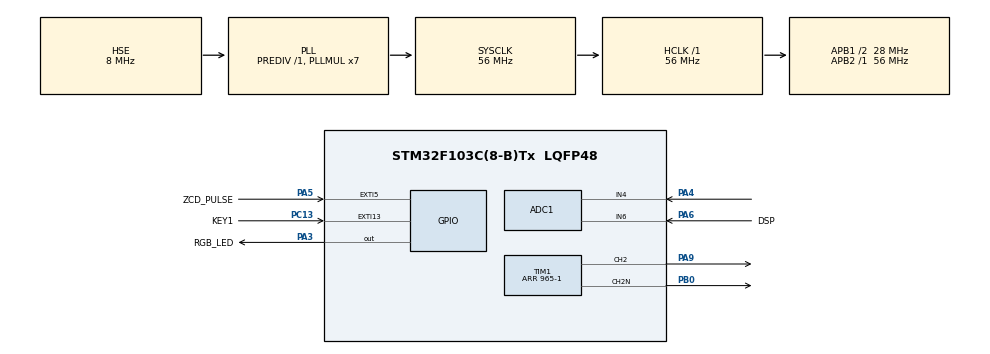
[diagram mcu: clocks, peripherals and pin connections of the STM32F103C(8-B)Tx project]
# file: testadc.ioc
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ADC1.Channel-2\#ChannelRegularConversion=ADC_CHANNEL_4
ADC1.ContinuousConvMode=ENABLE
ADC1.ExternalTrigConv=ADC_EXTERNALTRIGCONV_T3_TRGO
ADC1.NbrOfConversionFlag=1
ADC1.Rank-2\#ChannelRegularConversion=1
ADC1.SamplingTime-2\#ChannelRegularConversion=ADC_SAMPLETIME_1CYCLE_5
ADC1.master=1
Mcu.Family=STM32F1
Mcu.Name=STM32F103C(8-B)Tx
Mcu.Package=LQFP48
NVIC.EXTI15_10_IRQn=true\:0\:0\:false\:false\:true\:true\:true\:true
NVIC.EXTI9_5_IRQn=true\:0\:0\:false\:false\:true\:true\:true\:true
NVIC.PriorityGroup=NVIC_PRIORITYGROUP_4
NVIC.TIM1_CC_IRQn=true\:0\:0\:false\:false\:true\:true\:true\:true
NVIC.TIM4_IRQn=true\:0\:0\:false\:false\:true\:true\:true\:true
PA13.Mode=Trace_Asynchronous_SW
PA13.Signal=SYS_JTMS-SWDIO
PA14.Mode=Trace_Asynchronous_SW
PA14.Signal=SYS_JTCK-SWCLK
PA3.GPIO_Label=RGB_LED
PA3.Signal=GPIO_Output
PA4.Signal=ADCx_IN4
PA5.GPIO_Label=ZCD_PULSE
PA5.GPIO_ModeDefaultEXTI=GPIO_MODE_IT_RISING
PA5.Signal=GPXTI5
PA6.GPIO_Label=DSP
PA6.Signal=ADCx_IN6
PA9.Signal=S_TIM1_CH2
PB0.Mode=PWM Generation2 CH2 CH2N
PB0.Signal=TIM1_CH2N
PB3.Mode=Trace_Asynchronous_SW
PB3.Signal=SYS_JTDO-TRACESWO
PC13-TAMPER-RTC.GPIO_Label=KEY1
PC13-TAMPER-RTC.Signal=GPXTI13
PD0-OSC_IN.Mode=HSE-External-Oscillator
PD0-OSC_IN.Signal=RCC_OSC_IN
PD1-OSC_OUT.Mode=HSE-External-Oscillator
PD1-OSC_OUT.Signal=RCC_OSC_OUT
ProjectManager.HeapSize=0x200
ProjectManager.StackSize=0x400
ProjectManager.TargetToolchain=MDK-ARM V5.32
RCC.ADCPresc=RCC_ADCPCLK2_DIV4
RCC.AHBFreq_Value=56000000
RCC.APB1CLKDivider=RCC_HCLK_DIV2
RCC.APB1Freq_Value=28000000
RCC.APB1TimFreq_Value=56000000
RCC.APB2Freq_Value=56000000
RCC.APB2TimFreq_Value=56000000
RCC.HCLKFreq_Value=56000000
RCC.PLLMUL=RCC_PLL_MUL7
RCC.PLLSourceVirtual=RCC_PLLSOURCE_HSE
RCC.SYSCLKFreq_VALUE=56000000
RCC.SYSCLKSource=RCC_SYSCLKSOURCE_PLLCLK
RCC.USBFreq_Value=56000000
SH.ADCx_IN4.0=ADC1_IN4,IN4
SH.ADCx_IN6.0=ADC1_IN6,IN6
SH.S_TIM1_CH2.0=TIM1_CH2,PWM Generation2 CH2 CH2N
TIM1.AutoReloadPreload=TIM_AUTORELOAD_PRELOAD_ENABLE
TIM1.BreakState=TIM_BREAK_ENABLE
TIM1.Channel-PWM\ Generation2\ CH2\ CH2N=TIM_CHANNEL_2
TIM1.DeadTime=50
TIM1.OCFastMode_PWM-PWM\ Generation2\ CH2\ CH2N=TIM_OCFAST_ENABLE
TIM1.OCNIdleState_2=TIM_OCNIDLESTATE_SET
TIM1.OCPolarity_2=TIM_OCPOLARITY_LOW
TIM1.Period=965-1
TIM3.AutoReloadPreload=TIM_AUTORELOAD_PRELOAD_ENABLE
TIM3.Period=70-1
TIM3.TIM_MasterOutputTrigger=TIM_TRGO_UPDATE
TIM4.Period=56
TIM4.Prescaler=250
VP_TIM1_VS_ClockSourceINT.Mode=Internal
VP_TIM3_VS_ClockSourceINT.Mode=Internal
VP_TIM4_VS_ClockSourceINT.Mode=Internal
board=custom

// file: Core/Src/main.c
/* USER CODE BEGIN Header */
/**
  ******************************************************************************
  * @file           : main.c
  * @brief          : Main program body
  ******************************************************************************
  * @attention
  *
  * Copyright (c) 2023 STMicroelectronics.
  * All rights reserved.
  *
  * This software is licensed under terms that can be found in the LICENSE file
  * in the root directory of this software component.
  * If no LICENSE file comes with this software, it is provided AS-IS.
  *
  ******************************************************************************
  */
/* USER CODE END Header */
#include "main.h"

/* USER CODE BEGIN Includes */
#include "arm_math.h"
#include "arm_const_structs.h"
/* USER CODE END Includes */

/* USER CODE BEGIN PTD */

#define SAMPLES                    512             /* 256 real party and 256 imaginary parts */
#define FFT_SIZE               SAMPLES / 2        /* FFT size is always the same size as we have samples, so 256 in our case */
#define FFT_INVERSE_FLAG        ((uint8_t)0)
#define FFT_Normal_OUTPUT_FLAG  ((uint8_t)1)

uint16_t adc_val[SAMPLES];
q15_t FFT_Input_f32[FFT_SIZE*2];
q15_t FFT_Output_f32[FFT_SIZE];
q15_t maxValue=0;
uint16_t tag=0;
//q15_t FFT_Input_f32[SAMPLES];
//q15_t FFT_Output_f32[SAMPLES*2];
//q15_t maxValue;

//float32_t FFT_Input_f32[FFT_SIZE*2];
//float32_t FFT_Output_f32[FFT_SIZE];
//float32_t FFT_OutputFilter_f32[FFT_SIZE*2];
//float32_t maxValue;
uint16_t global_pulse_flag = 0;
uint16_t pulseEnd=0;
uint32_t maxIndex=0;
uint16_t BufferFlag=0;
#define NUM_TAPS 115
#define BLOCK_SIZE 512
static float32_t firStateF32[BLOCK_SIZE + NUM_TAPS -1];
static float32_t firCeffs[NUM_TAPS]= {
    0.000000000000000000,
    -0.000001313523696031,
    -0.000006045600631796,
    -0.000005391705956365,
    0.000012876350688274,
    0.000042207631095607,
    0.000049160753288544,
    0.000000000000000000,
    -0.000093495662352919,
    -0.000156458139528984,
    -0.000098411892031813,
    0.000094663715790658,
    0.000303189468920621,
    0.000329439281059466,
    0.000059204395866005,
    -0.000387818287369625,
    -0.000672559646994957,
    -0.000467746171394902,
    0.000232182269721180,
    0.000985307337439024,
    0.001143134936861696,
    0.000362749111054153,
    -0.000985477046233643,
    -0.001915421171109029,
    -0.001498197428606539,
    0.000311706861481382,
    0.002378415892033811,
    0.003025276997866369,
    0.001318618646342356,
    -0.001938171907916035,
    -0.004428097444937380,
    -0.003883551726046047,
    -0.000000000000000015,
    0.004827376867569123,
    0.006844939664729055,
    0.003729019080618624,
    -0.003161902009773621,
    -0.009057440458735459,
    -0.008911370218357424,
    -0.001465763470095635,
    0.008872689019475683,
    0.014345690837972453,
    0.009380187935203779,
    -0.004413697608035452,
    -0.017902031757367123,
    -0.020021915997521410,
    -0.006181225792915156,
    0.016503429923908217,
    0.031891188832734084,
    0.025140771560349908,
    -0.005360616978954799,
    -0.042823512659950928,
    -0.058686112468638876,
    -0.028715514040432644,
    0.050545074398097495,
    0.155557392997279859,
    0.244954572543420429,
    0.279997587009433113,
    0.244954572543420485,
    0.155557392997279859,
    0.050545074398097495,
    -0.028715514040432644,
    -0.058686112468638855,
    -0.042823512659950935,
    -0.005360616978954799,
    0.025140771560349912,
    0.031891188832734091,
    0.016503429923908217,
    -0.006181225792915157,
    -0.020021915997521410,
    -0.017902031757367130,
    -0.004413697608035453,
    0.009380187935203779,
    0.014345690837972458,
    0.008872689019475688,
    -0.001465763470095636,
    -0.008911370218357428,
    -0.009057440458735459,
    -0.003161902009773623,
    0.003729019080618626,
    0.006844939664729060,
    0.004827376867569123,
    -0.000000000000000015,
    -0.003883551726046047,
    -0.004428097444937378,
    -0.001938171907916035,
    0.001318618646342357,
    0.003025276997866374,
    0.002378415892033812,
    0.000311706861481382,
    -0.001498197428606540,
    -0.001915421171109029,
    -0.000985477046233643,
    0.000362749111054154,
    0.001143134936861694,
    0.000985307337439024,
    0.000232182269721180,
    -0.000467746171394903,
    -0.000672559646994958,
    -0.000387818287369625,
    0.000059204395866005,
    0.000329439281059466,
    0.000303189468920622,
    0.000094663715790658,
    -0.000098411892031812,
    -0.000156458139528984,
    -0.000093495662352919,
    0.000000000000000000,
    0.000049160753288544,
    0.000042207631095608,
    0.000012876350688274,
    -0.000005391705956365,
    -0.000006045600631796,
    -0.000001313523696031,
    0.000000000000000000,};
/* USER CODE END PTD */

ADC_HandleTypeDef hadc1;

TIM_HandleTypeDef htim1;
TIM_HandleTypeDef htim3;
TIM_HandleTypeDef htim4;

void SystemClock_Config(void);
static void MX_GPIO_Init(void);
static void MX_ADC1_Init(void);
static void MX_TIM3_Init(void);
static void MX_TIM1_Init(void);
static void MX_TIM4_Init(void);
/* USER CODE BEGIN PFP */
/* Maps buffer values 113..742, inclusive, to -8192..24575, with correct rounding. */
//void prepare_adc(uint32_t buffer[], uint32_t count)
//{
//		uint32_t xmin=0, xmax=4095, ymin=0, ymax=32767, r=0;
//		for (uint32_t  i = 0; i < count; i++){
//			if (buffer[i] <= xmin)
//					buffer[i] = ymin;
//			else
//			if (buffer[i] < xmax)
//					buffer[i] = ((int32_t)(buffer[i] - xmin)*32767 + r) / 629 + ymin;
//			else
//					buffer[i] = ymax;
//			}
//}
void HAL_GPIO_EXTI_Callback(uint16_t GPIO_Pin)
{

    if(GPIO_Pin == KEY1_Pin)
    {
			while(HAL_GPIO_ReadPin(KEY1_GPIO_Port, KEY1_Pin) == GPIO_PIN_RESET){};

			HAL_TIM_Base_Stop_IT(&htim1);
			HAL_GPIO_TogglePin(RGB_LED_GPIO_Port, RGB_LED_Pin);
//			HAL_TIM_OnePulse_Start(&htim2, TIM_CHANNEL_3);
//			__HAL_TIM_ENABLE(&htim2);
			HAL_TIM_Base_Start_IT(&htim1);

    }

    if(GPIO_Pin == ZCD_PULSE_Pin)
    {
			global_pulse_flag = 0;
//			HAL_GPIO_TogglePin(RGB_LED_GPIO_Port, RGB_LED_Pin);
			HAL_TIM_Base_Start_IT(&htim4); //TX PULSE
			HAL_TIM_Base_Stop(&htim3); //Stop adc trigger

    }

}

void HAL_ADC_ConvCpltCallback(ADC_HandleTypeDef* hadc){
	//arm_cfft_radix4_instance_f32 FFT_struct;
	// Fill FFT input buffer with the required data from ADCConvertedValue

	for(uint16_t index_input_buffer = 0; index_input_buffer < FFT_SIZE * 2; index_input_buffer+=2)
	{
		 FFT_Input_f32[(uint16_t)index_input_buffer] = (q15_t)adc_val[index_input_buffer] << 3;
		// Imaginary Part
		FFT_Input_f32[(uint16_t)(index_input_buffer + 1)] = 0;
	}

	BufferFlag=1;

}
uint16_t tag_processing(q15_t a[]){

	if (3800< a[59]){
		HAL_GPIO_WritePin(RGB_LED_GPIO_Port, RGB_LED_Pin, 1);
		tag=1;
		HAL_Delay(10);
	}
	else{
		HAL_GPIO_WritePin(RGB_LED_GPIO_Port, RGB_LED_Pin, 0);
		tag=0;
	}

return tag;
}

void HAL_TIM_PWM_PulseFinishedCallback(TIM_HandleTypeDef *htim)
{
    if(htim -> Instance == TIM1)
    {
        if(htim-> Channel == HAL_TIM_ACTIVE_CHANNEL_2)
        {
            global_pulse_flag++;
            if(global_pulse_flag>=87){ //1ms after pulse started (87*1/58000=1.5ms)
							global_pulse_flag = 0;
							HAL_TIM_PWM_Stop_IT(&htim1, TIM_CHANNEL_2);
							HAL_TIMEx_PWMN_Stop_IT(&htim1, TIM_CHANNEL_2);
							HAL_TIM_Base_Start(&htim3); //Start adc trigger
						}
        }
    }

}

void HAL_TIM_PeriodElapsedCallback(TIM_HandleTypeDef* htim)
{

	if(htim-> Instance == TIM4){
		HAL_TIM_Base_Stop_IT(&htim4);
		HAL_TIM_PWM_Start_IT(&htim1, TIM_CHANNEL_2);
		HAL_TIMEx_PWMN_Start_IT(&htim1, TIM_CHANNEL_2);
	}

//	if(htim-> Instance == TIM2){
//		pulseEnd=1;
//	}

}

uint16_t find_maximum(q15_t a[], uint16_t n) {
  q15_t c, index = 0;

  for (c = 50; c < n; c++)
    if (a[c] > a[index])
      index = c;

  return index;
}

/* USER CODE END PFP */

int main(void)
{

  /* MCU Configuration--------------------------------------------------------*/

  /* Reset of all peripherals, Initializes the Flash interface and the Systick. */
  HAL_Init();

  /* Configure the system clock */
  SystemClock_Config();

  /* Initialize all configured peripherals */
  MX_GPIO_Init();
  MX_ADC1_Init();
  MX_TIM3_Init();
  MX_TIM1_Init();
  MX_TIM4_Init();
  /* USER CODE BEGIN 2 */

	HAL_ADCEx_Calibration_Start(&hadc1);

	HAL_TIM_Base_Start_IT(&htim4);
	HAL_TIM_Base_Start(&htim3);
	global_pulse_flag=0;
	uint32_t CH1_DC=1032/2;
	TIM1->CCR2 = CH1_DC;
	TIM4->ARR=12-1;

//	HAL_ADC_Start_DMA(&hadc1, (uint32_t *)adc_val, SAMPLES);

  /* USER CODE END 2 */

  /* Infinite loop */
  /* USER CODE BEGIN WHILE */
	HAL_GPIO_WritePin(RGB_LED_GPIO_Port, RGB_LED_Pin, 1);
	HAL_Delay(800);
	HAL_GPIO_WritePin(RGB_LED_GPIO_Port, RGB_LED_Pin, 0);

//	arm_fir_instance_f32 F;
//	arm_cfft_radix4_instance_f32 S;
//	arm_rfft_fast_instance_f32 S;
//	arm_rfft_instance_q15 S;
//	arm_cfft_instance_q15 S;
	arm_cfft_radix4_instance_q15 S;
//	arm_cfft_radix2_instance_q15 S;
	arm_status status;

//	arm_cfft_radix4_init_f32(&S, FFT_SIZE, 0, 1);
//	arm_rfft_fast_init_f32(&S, FFT_SIZE);
//	arm_rfft_init_q15(&S, FFT_SIZE, 0, 1);
//	arm_cfft_init_q15(&S, FFT_SIZE);
	arm_cfft_radix4_init_q15(&S, FFT_SIZE, 0, 1);
//	arm_cfft_radix2_init_q15(&S, FFT_SIZE, 0, 1);

  while (1)
  {

//		if(maxIndex == 30){
//
//		HAL_GPIO_WritePin(RGB_LED_GPIO_Port, RGB_LED_Pin, 0);
			HAL_GPIO_TogglePin(RGB_LED_GPIO_Port, RGB_LED_Pin);
//			HAL_Delay(500);
		if (BufferFlag == 1){
		HAL_TIM_Base_Stop(&htim3);

//		arm_fir_init_f32(&F, NUM_TAPS, firCeffs, firStateF32, BLOCK_SIZE);
//		arm_fir_f32(&F, FFT_Input_f32, FFT_OutputFilter_f32, BLOCK_SIZE);

		/* Initialize the CFFT/CIFFT module, intFlag = 0, doBitReverse = 1 */

		/* Process the data through the CFFT/CIFFT module */
//		arm_cfft_radix4_f32(&S, FFT_Input_f32);
//		arm_rfft_fast_f32(&S, FFT_Input_f32,FFT_Output_f32,0);
//		arm_rfft_q15(&S, FFT_Input_f32, FFT_Output_f32);
		arm_cfft_radix4_q15(&S, FFT_Input_f32);

//		arm_cfft_radix2_q15(&S, FFT_Input_f32);
		/* Process the data through the Complex Magniture Module for calculating the magnitude at each bin */
//		arm_cmplx_mag_f32(FFT_Input_f32, FFT_Output_f32, FFT_SIZE);
		arm_cmplx_mag_q15(FFT_Input_f32, FFT_Output_f32, FFT_SIZE);

		FFT_Output_f32[0] = 0;

		/* Calculates maxValue and returns corresponding value */
////		arm_max_f32(FFT_Output_f32, FFT_SIZE, &maxValue, &maxIndex);
		arm_max_q15(FFT_Output_f32, FFT_SIZE, &maxValue, &maxIndex);

//		maxIndex = find_maximum(FFT_Output_f32, 70);
//		maxValue = FFT_Output_f32[maxIndex];
//		tag_processing(FFT_Output_f32);

		BufferFlag = 0;
		HAL_TIM_Base_Start(&htim3); //Stop adc Trig
		}

    /* USER CODE END WHILE */

  }
}

void SystemClock_Config(void)
{
  RCC_OscInitTypeDef RCC_OscInitStruct = {0};
  RCC_ClkInitTypeDef RCC_ClkInitStruct = {0};
  RCC_PeriphCLKInitTypeDef PeriphClkInit = {0};

  /** Initializes the RCC Oscillators according to the specified parameters
  * in the RCC_OscInitTypeDef structure.
  */
  RCC_OscInitStruct.OscillatorType = RCC_OSCILLATORTYPE_HSE;
  RCC_OscInitStruct.HSEState = RCC_HSE_ON;
  RCC_OscInitStruct.HSEPredivValue = RCC_HSE_PREDIV_DIV1;
  RCC_OscInitStruct.HSIState = RCC_HSI_ON;
  RCC_OscInitStruct.PLL.PLLState = RCC_PLL_ON;
  RCC_OscInitStruct.PLL.PLLSource = RCC_PLLSOURCE_HSE;
  RCC_OscInitStruct.PLL.PLLMUL = RCC_PLL_MUL7;
  if (HAL_RCC_OscConfig(&RCC_OscInitStruct) != HAL_OK)
  {
    Error_Handler();
  }

  /** Initializes the CPU, AHB and APB buses clocks
  */
  RCC_ClkInitStruct.ClockType = RCC_CLOCKTYPE_HCLK|RCC_CLOCKTYPE_SYSCLK
                              |RCC_CLOCKTYPE_PCLK1|RCC_CLOCKTYPE_PCLK2;
  RCC_ClkInitStruct.SYSCLKSource = RCC_SYSCLKSOURCE_PLLCLK;
  RCC_ClkInitStruct.AHBCLKDivider = RCC_SYSCLK_DIV1;
  RCC_ClkInitStruct.APB1CLKDivider = RCC_HCLK_DIV2;
  RCC_ClkInitStruct.APB2CLKDivider = RCC_HCLK_DIV1;

  if (HAL_RCC_ClockConfig(&RCC_ClkInitStruct, FLASH_LATENCY_2) != HAL_OK)
  {
    Error_Handler();
  }
  PeriphClkInit.PeriphClockSelection = RCC_PERIPHCLK_ADC;
  PeriphClkInit.AdcClockSelection = RCC_ADCPCLK2_DIV4;
  if (HAL_RCCEx_PeriphCLKConfig(&PeriphClkInit) != HAL_OK)
  {
    Error_Handler();
  }
}

static void MX_ADC1_Init(void)
{

  ADC_ChannelConfTypeDef sConfig = {0};

  /** Common config
  */
  hadc1.Instance = ADC1;
  hadc1.Init.ScanConvMode = ADC_SCAN_DISABLE;
  hadc1.Init.ContinuousConvMode = ENABLE;
  hadc1.Init.DiscontinuousConvMode = DISABLE;
  hadc1.Init.ExternalTrigConv = ADC_EXTERNALTRIGCONV_T3_TRGO;
  hadc1.Init.DataAlign = ADC_DATAALIGN_RIGHT;
  hadc1.Init.NbrOfConversion = 1;
  if (HAL_ADC_Init(&hadc1) != HAL_OK)
  {
    Error_Handler();
  }

  /** Configure Regular Channel
  */
  sConfig.Channel = ADC_CHANNEL_4;
  sConfig.Rank = ADC_REGULAR_RANK_1;
  sConfig.SamplingTime = ADC_SAMPLETIME_1CYCLE_5;
  if (HAL_ADC_ConfigChannel(&hadc1, &sConfig) != HAL_OK)
  {
    Error_Handler();
  }

}

static void MX_TIM1_Init(void)
{

  TIM_ClockConfigTypeDef sClockSourceConfig = {0};
  TIM_MasterConfigTypeDef sMasterConfig = {0};
  TIM_OC_InitTypeDef sConfigOC = {0};
  TIM_BreakDeadTimeConfigTypeDef sBreakDeadTimeConfig = {0};

  htim1.Instance = TIM1;
  htim1.Init.Prescaler = 0;
  htim1.Init.CounterMode = TIM_COUNTERMODE_UP;
  htim1.Init.Period = 965-1;
  htim1.Init.ClockDivision = TIM_CLOCKDIVISION_DIV1;
  htim1.Init.RepetitionCounter = 0;
  htim1.Init.AutoReloadPreload = TIM_AUTORELOAD_PRELOAD_ENABLE;
  if (HAL_TIM_Base_Init(&htim1) != HAL_OK)
  {
    Error_Handler();
  }
  sClockSourceConfig.ClockSource = TIM_CLOCKSOURCE_INTERNAL;
  if (HAL_TIM_ConfigClockSource(&htim1, &sClockSourceConfig) != HAL_OK)
  {
    Error_Handler();
  }
  if (HAL_TIM_PWM_Init(&htim1) != HAL_OK)
  {
    Error_Handler();
  }
  sMasterConfig.MasterOutputTrigger = TIM_TRGO_RESET;
  sMasterConfig.MasterSlaveMode = TIM_MASTERSLAVEMODE_DISABLE;
  if (HAL_TIMEx_MasterConfigSynchronization(&htim1, &sMasterConfig) != HAL_OK)
  {
    Error_Handler();
  }
  sConfigOC.OCMode = TIM_OCMODE_PWM1;
  sConfigOC.Pulse = 0;
  sConfigOC.OCPolarity = TIM_OCPOLARITY_LOW;
  sConfigOC.OCNPolarity = TIM_OCNPOLARITY_HIGH;
  sConfigOC.OCFastMode = TIM_OCFAST_ENABLE;
  sConfigOC.OCIdleState = TIM_OCIDLESTATE_RESET;
  sConfigOC.OCNIdleState = TIM_OCNIDLESTATE_SET;
  if (HAL_TIM_PWM_ConfigChannel(&htim1, &sConfigOC, TIM_CHANNEL_2) != HAL_OK)
  {
    Error_Handler();
  }
  sBreakDeadTimeConfig.OffStateRunMode = TIM_OSSR_DISABLE;
  sBreakDeadTimeConfig.OffStateIDLEMode = TIM_OSSI_DISABLE;
  sBreakDeadTimeConfig.LockLevel = TIM_LOCKLEVEL_OFF;
  sBreakDeadTimeConfig.DeadTime = 50;
  sBreakDeadTimeConfig.BreakState = TIM_BREAK_ENABLE;
  sBreakDeadTimeConfig.BreakPolarity = TIM_BREAKPOLARITY_HIGH;
  sBreakDeadTimeConfig.AutomaticOutput = TIM_AUTOMATICOUTPUT_DISABLE;
  if (HAL_TIMEx_ConfigBreakDeadTime(&htim1, &sBreakDeadTimeConfig) != HAL_OK)
  {
    Error_Handler();
  }
  HAL_TIM_MspPostInit(&htim1);

}

static void MX_TIM3_Init(void)
{

  TIM_ClockConfigTypeDef sClockSourceConfig = {0};
  TIM_MasterConfigTypeDef sMasterConfig = {0};

  htim3.Instance = TIM3;
  htim3.Init.Prescaler = 0;
  htim3.Init.CounterMode = TIM_COUNTERMODE_UP;
  htim3.Init.Period = 70-1;
  htim3.Init.ClockDivision = TIM_CLOCKDIVISION_DIV1;
  htim3.Init.AutoReloadPreload = TIM_AUTORELOAD_PRELOAD_ENABLE;
  if (HAL_TIM_Base_Init(&htim3) != HAL_OK)
  {
    Error_Handler();
  }
  sClockSourceConfig.ClockSource = TIM_CLOCKSOURCE_INTERNAL;
  if (HAL_TIM_ConfigClockSource(&htim3, &sClockSourceConfig) != HAL_OK)
  {
    Error_Handler();
  }
  sMasterConfig.MasterOutputTrigger = TIM_TRGO_UPDATE;
  sMasterConfig.MasterSlaveMode = TIM_MASTERSLAVEMODE_DISABLE;
  if (HAL_TIMEx_MasterConfigSynchronization(&htim3, &sMasterConfig) != HAL_OK)
  {
    Error_Handler();
  }

}

static void MX_TIM4_Init(void)
{

  TIM_ClockConfigTypeDef sClockSourceConfig = {0};
  TIM_MasterConfigTypeDef sMasterConfig = {0};

  htim4.Instance = TIM4;
  htim4.Init.Prescaler = 250;
  htim4.Init.CounterMode = TIM_COUNTERMODE_UP;
  htim4.Init.Period = 56;
  htim4.Init.ClockDivision = TIM_CLOCKDIVISION_DIV1;
  htim4.Init.AutoReloadPreload = TIM_AUTORELOAD_PRELOAD_DISABLE;
  if (HAL_TIM_Base_Init(&htim4) != HAL_OK)
  {
    Error_Handler();
  }
  sClockSourceConfig.ClockSource = TIM_CLOCKSOURCE_INTERNAL;
  if (HAL_TIM_ConfigClockSource(&htim4, &sClockSourceConfig) != HAL_OK)
  {
    Error_Handler();
  }
  sMasterConfig.MasterOutputTrigger = TIM_TRGO_RESET;
  sMasterConfig.MasterSlaveMode = TIM_MASTERSLAVEMODE_DISABLE;
  if (HAL_TIMEx_MasterConfigSynchronization(&htim4, &sMasterConfig) != HAL_OK)
  {
    Error_Handler();
  }

}

static void MX_GPIO_Init(void)
{
  GPIO_InitTypeDef GPIO_InitStruct = {0};

  /* GPIO Ports Clock Enable */
  __HAL_RCC_GPIOC_CLK_ENABLE();
  __HAL_RCC_GPIOD_CLK_ENABLE();
  __HAL_RCC_GPIOA_CLK_ENABLE();
  __HAL_RCC_GPIOB_CLK_ENABLE();

  /*Configure GPIO pin Output Level */
  HAL_GPIO_WritePin(RGB_LED_GPIO_Port, RGB_LED_Pin, GPIO_PIN_RESET);

  /*Configure GPIO pin : KEY1_Pin */
  GPIO_InitStruct.Pin = KEY1_Pin;
  GPIO_InitStruct.Mode = GPIO_MODE_IT_RISING;
  GPIO_InitStruct.Pull = GPIO_NOPULL;
  HAL_GPIO_Init(KEY1_GPIO_Port, &GPIO_InitStruct);

  /*Configure GPIO pin : RGB_LED_Pin */
  GPIO_InitStruct.Pin = RGB_LED_Pin;
  GPIO_InitStruct.Mode = GPIO_MODE_OUTPUT_PP;
  GPIO_InitStruct.Pull = GPIO_NOPULL;
  GPIO_InitStruct.Speed = GPIO_SPEED_FREQ_LOW;
  HAL_GPIO_Init(RGB_LED_GPIO_Port, &GPIO_InitStruct);

  /*Configure GPIO pin : ZCD_PULSE_Pin */
  GPIO_InitStruct.Pin = ZCD_PULSE_Pin;
  GPIO_InitStruct.Mode = GPIO_MODE_IT_RISING;
  GPIO_InitStruct.Pull = GPIO_NOPULL;
  HAL_GPIO_Init(ZCD_PULSE_GPIO_Port, &GPIO_InitStruct);

  /* EXTI interrupt init*/
  HAL_NVIC_SetPriority(EXTI9_5_IRQn, 0, 0);
  HAL_NVIC_EnableIRQ(EXTI9_5_IRQn);

  HAL_NVIC_SetPriority(EXTI15_10_IRQn, 0, 0);
  HAL_NVIC_EnableIRQ(EXTI15_10_IRQn);

}

void Error_Handler(void)
{
  __disable_irq();
  while (1)
  {
  }
}
